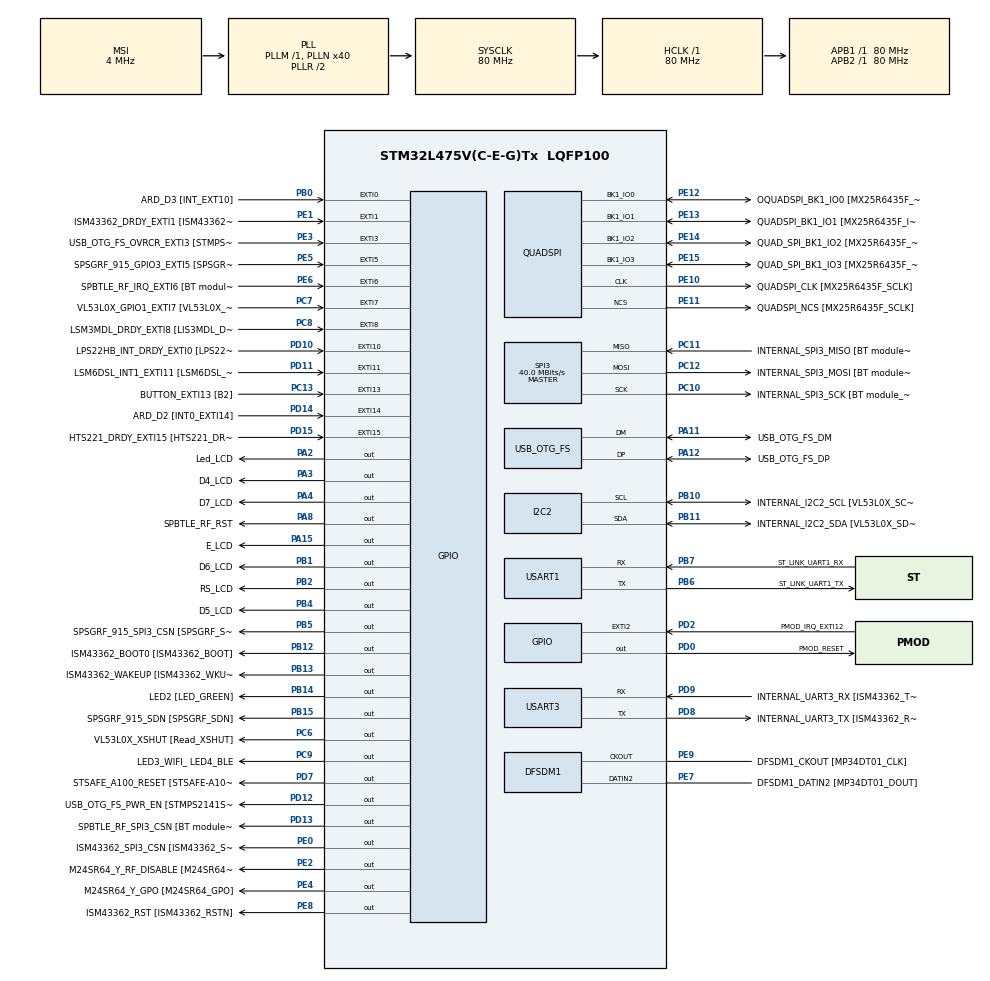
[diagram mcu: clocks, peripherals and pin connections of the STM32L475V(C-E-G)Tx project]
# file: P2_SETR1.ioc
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Mcu.Family=STM32L4
Mcu.Name=STM32L475V(C-E-G)Tx
Mcu.Package=LQFP100
NVIC.EXTI15_10_IRQn=true\:0\:0\:false\:false\:true\:true\:true\:true
NVIC.EXTI9_5_IRQn=true\:0\:0\:false\:false\:true\:true\:true\:true
NVIC.PriorityGroup=NVIC_PRIORITYGROUP_4
PA0.GPIO_Label=ARD_D1 [UART4_TX]
PA0.Signal=UART4_TX
PA1.GPIO_Label=ARD_D0 [UART4_RX]
PA1.Signal=UART4_RX
PA10.GPIO_Label=USB_OTG_FS_ID
PA10.Signal=USB_OTG_FS_ID
PA11.GPIO_Label=USB_OTG_FS_DM
PA11.Mode=Device_Only
PA11.Signal=USB_OTG_FS_DM
PA12.GPIO_Label=USB_OTG_FS_DP
PA12.Mode=Device_Only
PA12.Signal=USB_OTG_FS_DP
PA13\ (JTMS-SWDIO).GPIO_Label=SYS_JTMS_SWDIO
PA13\ (JTMS-SWDIO).Mode=Serial_Wire
PA13\ (JTMS-SWDIO).Signal=SYS_JTMS-SWDIO
PA14\ (JTCK-SWCLK).GPIO_Label=SYS_JTCK_SWCLK
PA14\ (JTCK-SWCLK).Mode=Serial_Wire
PA14\ (JTCK-SWCLK).Signal=SYS_JTCK-SWCLK
PA15\ (JTDI).GPIO_Label=E_LCD
PA15\ (JTDI).Signal=GPIO_Output
PA2.GPIO_Label=Led_LCD
PA2.Signal=GPIO_Output
PA3.GPIO_Label=D4_LCD
PA3.Signal=GPIO_Output
PA4.GPIO_Label=D7_LCD
PA4.Signal=GPIO_Output
PA5.GPIO_Label=ARD_D13 [SPI1_SCK]
PA5.Signal=SPI1_SCK
PA6.GPIO_Label=ARD_D12 [SPI1_MISO]
PA6.Signal=SPI1_MISO
PA7.GPIO_Label=ARD_D11 [SPI1_MOSI]
PA7.Signal=SPI1_MOSI
PA8.GPIO_Label=SPBTLE_RF_RST
PA8.Signal=GPIO_Output
PA9.GPIO_Label=USB_OTG_FS_VBUS [STMPS2141STR_OUT]
PA9.Signal=USB_OTG_FS_VBUS
PB0.GPIO_Label=ARD_D3 [INT_EXT10]
PB0.Signal=GPXTI0
PB1.GPIO_Label=D6_LCD
PB1.Signal=GPIO_Output
PB10.GPIO_Label=INTERNAL_I2C2_SCL [VL53L0X_SCL]
PB10.GPIO_Pu=GPIO_PULLUP
PB10.Mode=I2C
PB10.Signal=I2C2_SCL
PB11.GPIO_Label=INTERNAL_I2C2_SDA [VL53L0X_SDA]
PB11.GPIO_Pu=GPIO_PULLUP
PB11.Mode=I2C
PB11.Signal=I2C2_SDA
PB12.GPIO_Label=ISM43362_BOOT0 [ISM43362_BOOT]
PB12.Signal=GPIO_Output
PB13.GPIO_Label=ISM43362_WAKEUP [ISM43362_WKUP]
PB13.Signal=GPIO_Output
PB14.GPIO_Label=LED2 [LED_GREEN]
PB14.Signal=GPIO_Output
PB15.GPIO_Label=SPSGRF_915_SDN [SPSGRF_SDN]
PB15.Signal=GPIO_Output
PB2.GPIO_Label=RS_LCD
PB2.Signal=GPIO_Output
PB3\ (JTDO-TRACESWO).GPIO_Label=SYS_JTD0_SWO
PB3\ (JTDO-TRACESWO).Signal=SYS_JTDO-SWO
PB4\ (NJTRST).GPIO_Label=D5_LCD
PB4\ (NJTRST).Signal=GPIO_Output
PB5.GPIO_Label=SPSGRF_915_SPI3_CSN [SPSGRF_SPI_CS]
PB5.PinState=GPIO_PIN_SET
PB5.Signal=GPIO_Output
PB6.GPIO_Label=ST_LINK_UART1_TX
PB6.Mode=Asynchronous
PB6.Signal=USART1_TX
PB7.GPIO_Label=ST_LINK_UART1_RX
PB7.Mode=Asynchronous
PB7.Signal=USART1_RX
PB8.GPIO_Label=ARD_D15 [I2C1_SCL]
PB8.Signal=I2C1_SCL
PB9.GPIO_Label=ARD_D14 [I2C1_SDA]
PB9.Signal=I2C1_SDA
PC0.GPIO_Label=ARD_A5 [ADC]
PC0.Signal=ADCx_IN1
PC1.GPIO_Label=ARD_A4 [ADC]
PC1.Signal=ADCx_IN2
PC10.GPIO_Label=INTERNAL_SPI3_SCK [BT module_SPI_SCLK] [ISM43362_SCK]
PC10.Mode=Full_Duplex_Master
PC10.Signal=SPI3_SCK
PC11.GPIO_Label=INTERNAL_SPI3_MISO [BT module_SPI_MISO] [ISM43362_MISO]
PC11.Mode=Full_Duplex_Master
PC11.Signal=SPI3_MISO
PC12.GPIO_Label=INTERNAL_SPI3_MOSI [BT module_SPI_MOSI] [ISM43362_MOSI]
PC12.Mode=Full_Duplex_Master
PC12.Signal=SPI3_MOSI
PC13.GPIO_Label=BUTTON_EXTI13 [B2]
PC13.GPIO_ModeDefaultEXTI=GPIO_MODE_IT_FALLING
PC13.Signal=GPXTI13
PC14-OSC32_IN\ (PC14).Mode=LSE-External-Oscillator
PC14-OSC32_IN\ (PC14).Signal=RCC_OSC32_IN
PC15-OSC32_OUT\ (PC15).Mode=LSE-External-Oscillator
PC15-OSC32_OUT\ (PC15).Signal=RCC_OSC32_OUT
PC2.GPIO_Label=ARD_A3 [ADC]
PC2.Signal=ADCx_IN3
PC3.GPIO_Label=ARD_A2 [ADC]
PC3.Signal=ADCx_IN4
PC4.GPIO_Label=ARD_A1 [ADC]
PC4.Signal=ADCx_IN13
PC5.GPIO_Label=ARD_A0 [ADC]
PC5.Signal=ADCx_IN14
PC6.GPIO_Label=VL53L0X_XSHUT [Read_XSHUT]
PC6.Signal=GPIO_Output
PC7.GPIO_Label=VL53L0X_GPIO1_EXTI7 [VL53L0X_GPIO1]
PC7.Signal=GPXTI7
PC8.GPIO_Label=LSM3MDL_DRDY_EXTI8 [LIS3MDL_DRDY]
PC8.Signal=GPXTI8
PC9.GPIO_Label=LED3_WIFI_ LED4_BLE
PC9.Signal=GPIO_Output
PD0.GPIO_Label=PMOD_RESET
PD0.Signal=GPIO_Output
PD1.GPIO_Label=PMOD_SPI2_SCK
PD1.Signal=SPI2_SCK
PD10.GPIO_Label=LPS22HB_INT_DRDY_EXTI0 [LPS22HB_INT_DRDY] 
PD10.Signal=GPXTI10
PD11.GPIO_Label=LSM6DSL_INT1_EXTI11 [LSM6DSL_INT1]
PD11.Signal=GPXTI11
PD12.GPIO_Label=USB_OTG_FS_PWR_EN [STMPS2141STR_EN]
PD12.Signal=GPIO_Output
PD13.GPIO_Label=SPBTLE_RF_SPI3_CSN [BT module_SPI_CS]
PD13.PinState=GPIO_PIN_SET
PD13.Signal=GPIO_Output
PD14.GPIO_Label=ARD_D2 [INT0_EXTI14]
PD14.Signal=GPXTI14
PD15.GPIO_Label=HTS221_DRDY_EXTI15 [HTS221_DRDY]
PD15.Signal=GPXTI15
PD2.GPIO_Label=PMOD_IRQ_EXTI12
PD2.Signal=GPXTI2
PD3.GPIO_Label=PMOD_UART2_CTS
PD3.Signal=USART2_CTS
PD4.GPIO_Label=PMOD_UART2_RTS
PD4.Signal=USART2_RTS
PD5.GPIO_Label=PMOD_UART2_TX
PD5.Signal=USART2_TX
PD6.GPIO_Label=PMOD_UART2_RX
PD6.Signal=USART2_RX
PD7.GPIO_Label=STSAFE_A100_RESET [STSAFE-A100_RESET]
PD7.Signal=GPIO_Output
PD8.GPIO_Label=INTERNAL_UART3_TX [ISM43362_RX]
PD8.Mode=Asynchronous
PD8.Signal=USART3_TX
PD9.GPIO_Label=INTERNAL_UART3_RX [ISM43362_TX]
PD9.Mode=Asynchronous
PD9.Signal=USART3_RX
PE0.GPIO_Label=ISM43362_SPI3_CSN [ISM43362_SSN]
PE0.PinState=GPIO_PIN_SET
PE0.Signal=GPIO_Output
PE1.GPIO_Label=ISM43362_DRDY_EXTI1 [ISM43362_DATARDY]
PE1.Signal=GPXTI1
PE10.GPIO_Label=QUADSPI_CLK [MX25R6435F_SCLK]
PE10.Mode=Single Bank
PE10.Signal=QUADSPI_CLK
PE11.GPIO_Label=QUADSPI_NCS [MX25R6435F_SCLK]
PE11.Mode=Single Bank
PE11.Signal=QUADSPI_NCS
PE12.GPIO_Label=OQUADSPI_BK1_IO0 [MX25R6435F_IO0]
PE12.Mode=Single Bank
PE12.Signal=QUADSPI_BK1_IO0
PE13.GPIO_Label=QUADSPI_BK1_IO1 [MX25R6435F_IO1]
PE13.Mode=Single Bank
PE13.Signal=QUADSPI_BK1_IO1
PE14.GPIO_Label=QUAD_SPI_BK1_IO2 [MX25R6435F_IO2]
PE14.Mode=Single Bank
PE14.Signal=QUADSPI_BK1_IO2
PE15.GPIO_Label=QUAD_SPI_BK1_IO3 [MX25R6435F_IO3]
PE15.Mode=Single Bank
PE15.Signal=QUADSPI_BK1_IO3
PE2.GPIO_Label=M24SR64_Y_RF_DISABLE [M24SR64_RFDIS]
PE2.Signal=GPIO_Output
PE3.GPIO_Label=USB_OTG_FS_OVRCR_EXTI3 [STMPS2141STR_FAULT]
PE3.Signal=GPXTI3
PE4.GPIO_Label=M24SR64_Y_GPO [M24SR64_GPO]
PE4.Signal=GPIO_Output
PE5.GPIO_Label=SPSGRF_915_GPIO3_EXTI5 [SPSGRF_GPIO_3]
PE5.Signal=GPXTI5
PE6.GPIO_Label=SPBTLE_RF_IRQ_EXTI6 [BT module_SPI_IRQ]
PE6.Signal=GPXTI6
PE7.GPIO_Label=DFSDM1_DATIN2 [MP34DT01_DOUT]
PE7.Signal=S_DATAIN2DFSDM1
PE8.GPIO_Label=ISM43362_RST [ISM43362_RSTN]
PE8.Signal=GPIO_Output
PE9.GPIO_Label=DFSDM1_CKOUT [MP34DT01_CLK]
PE9.Signal=S_CKOUTDFSDM1
ProjectManager.HeapSize=0x200
ProjectManager.StackSize=0x400
ProjectManager.TargetToolchain=STM32CubeIDE
QUADSPI.ClockPrescaler=2
QUADSPI.FifoThreshold=4
QUADSPI.FlashSize=23
QUADSPI.SampleShifting=QSPI_SAMPLE_SHIFTING_HALFCYCLE
RCC.ADCFreq_Value=48000000
RCC.AHBFreq_Value=80000000
RCC.APB1Freq_Value=80000000
RCC.APB1TimFreq_Value=80000000
RCC.APB2Freq_Value=80000000
RCC.APB2TimFreq_Value=80000000
RCC.CortexFreq_Value=80000000
RCC.HCLKFreq_Value=80000000
RCC.HSE_VALUE=8000000
RCC.HSI_VALUE=16000000
RCC.MSI_VALUE=4000000
RCC.PLLN=40
RCC.PLLSAI1N=24
RCC.SYSCLKFreq_VALUE=80000000
RCC.SYSCLKSource=RCC_SYSCLKSOURCE_PLLCLK
RCC.USBFreq_Value=48000000
RCC.VCOOutputFreq_Value=160000000
SH.ADCx_IN1.0=ADC1_IN1
SH.ADCx_IN13.0=ADC1_IN13
SH.ADCx_IN14.0=ADC1_IN14
SH.ADCx_IN2.0=ADC1_IN2
SH.ADCx_IN3.0=ADC1_IN3
SH.ADCx_IN4.0=ADC1_IN4
SH.S_CKOUTDFSDM1.0=DFSDM1_CKOUT,CKOUT
SH.S_CKOUTDFSDM1.1=DFSDM1_CKOUT,PDM_SPI_Input_from_ch12_and_Internal_Clock
SH.S_DATAIN2DFSDM1.0=DFSDM1_DATIN2,PDM_SPI_Input_from_ch12_and_Internal_Clock
SPI3.CalculateBaudRate=40.0 MBits/s
SPI3.Direction=SPI_DIRECTION_2LINES
SPI3.Mode=SPI_MODE_MASTER
SPI3.VirtualType=VM_MASTER
USART1.VirtualMode-Asynchronous=VM_ASYNC
USART3.VirtualMode-Asynchronous=VM_ASYNC
USB_OTG_FS.VirtualMode=Device_Only
board=B-L475E-IOT01A1

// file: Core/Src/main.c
/* USER CODE BEGIN Header */
/**
  ******************************************************************************
  * @file           : main.c
  * @brief          : Main program body
  ******************************************************************************
  * @attention
  *
  * Copyright (c) 2025 STMicroelectronics.
  * All rights reserved.
  *
  * This software is licensed under terms that can be found in the LICENSE file
  * in the root directory of this software component.
  * If no LICENSE file comes with this software, it is provided AS-IS.
  *
  ******************************************************************************
  */
/* USER CODE END Header */
#include "main.h"

/* USER CODE BEGIN Includes */
#include "hd44780.h"
/* USER CODE END Includes */

DFSDM_Channel_HandleTypeDef hdfsdm1_channel1;

I2C_HandleTypeDef hi2c2;

QSPI_HandleTypeDef hqspi;

SPI_HandleTypeDef hspi3;

UART_HandleTypeDef huart1;
UART_HandleTypeDef huart3;

PCD_HandleTypeDef hpcd_USB_OTG_FS;

void SystemClock_Config(void);
static void MX_GPIO_Init(void);
static void MX_DFSDM1_Init(void);
static void MX_I2C2_Init(void);
static void MX_QUADSPI_Init(void);
static void MX_SPI3_Init(void);
static void MX_USART1_UART_Init(void);
static void MX_USART3_UART_Init(void);
static void MX_USB_OTG_FS_PCD_Init(void);

int main(void)
{

  /* MCU Configuration--------------------------------------------------------*/

  /* Reset of all peripherals, Initializes the Flash interface and the Systick. */
  HAL_Init();

  /* Configure the system clock */
  SystemClock_Config();

  /* Initialize all configured peripherals */
  MX_GPIO_Init();
  MX_DFSDM1_Init();
  MX_I2C2_Init();
  MX_QUADSPI_Init();
  MX_SPI3_Init();
  MX_USART1_UART_Init();
  MX_USART3_UART_Init();
  MX_USB_OTG_FS_PCD_Init();
  /* USER CODE BEGIN 2 */
  LL_GPIO_SetOutputPin(Led_LCD_GPIO_Port, Led_LCD_Pin);

  lcd_reset();
  lcd_display_settings(1,0,0);
  lcd_clear();

  lcd_cgram_address(0); // se selecciona la dirección 0 de la CGRAM, patrón con código 0
  lcd_write(0x15, 1); //se va cargando con los bytes del patrón de cada fila de la CGRAM
  lcd_write(0x15, 1);
  lcd_write(0xe, 1);
  lcd_write(0x4, 1);
  lcd_write(0x4, 1);
  lcd_write(0xa, 1);
  lcd_write(0x11, 1);
  lcd_write(0x00, 1);
  lcd_cgram_address(8); //se selecciona la dirección 8 de la CGRAM, patrón con código 1
  lcd_write(0x4, 1); // se va cargando con los bytes del patrón de cada fila de la CGRAM
  lcd_write(0x4, 1);
  lcd_write(0xe, 1);
  lcd_write(0x15, 1);
  lcd_write(0x15, 1);
  lcd_write(0xa, 1);
  lcd_write(0xa, 1);
  lcd_write(0x00, 1);
  lcd_display_address(0); //Vuelve a direccionar la DDRAM para visualizar datos en pantalla
  /* USER CODE END 2 */

  /* Infinite loop */
  /* USER CODE BEGIN WHILE */
  int counter = 0, state = 0;
  while (1)
  {
    /* USER CODE END WHILE */

    /* USER CODE BEGIN 3 */

	// TAREA A
    counter++;
	if (counter == 10 && state == 0)
	{
		moveToXY(1,7); //sitúa el cursor en la posición fila 1 columna 7, primer muñeco
		lcd_write(0,1); //escribe el nuevo patrón 0 en la DDRAM
		moveToXY(1,8); //sitúa el cursor en la posición fila 1 columna 8, segundo muñeco
		lcd_write(0,1);

		counter = 0;
		state = 1;
	}

	if (counter == 10 && state == 1)
	{
		moveToXY(1,7);
		lcd_write(1,1); //escribe el nuevo patrón 0 en la DDRAM
		moveToXY(1,8);
		lcd_write(1,1);

		counter = 0;
		state = 0;
	}

	// TAREA B
	if (LL_GPIO_IsInputPinSet(BUTTON_EXTI13_GPIO_Port, BUTTON_EXTI13_Pin))
		LL_GPIO_SetOutputPin(LED2_GPIO_Port, LED2_Pin);
	else
		LL_GPIO_ResetOutputPin(LED2_GPIO_Port, LED2_Pin);

	HAL_Delay(100);
  }
  /* USER CODE END 3 */
}

void SystemClock_Config(void)
{
  RCC_OscInitTypeDef RCC_OscInitStruct = {0};
  RCC_ClkInitTypeDef RCC_ClkInitStruct = {0};

  /** Configure the main internal regulator output voltage
  */
  if (HAL_PWREx_ControlVoltageScaling(PWR_REGULATOR_VOLTAGE_SCALE1) != HAL_OK)
  {
    Error_Handler();
  }

  /** Configure LSE Drive Capability
  */
  HAL_PWR_EnableBkUpAccess();
  __HAL_RCC_LSEDRIVE_CONFIG(RCC_LSEDRIVE_LOW);

  /** Initializes the RCC Oscillators according to the specified parameters
  * in the RCC_OscInitTypeDef structure.
  */
  RCC_OscInitStruct.OscillatorType = RCC_OSCILLATORTYPE_LSE|RCC_OSCILLATORTYPE_MSI;
  RCC_OscInitStruct.LSEState = RCC_LSE_ON;
  RCC_OscInitStruct.MSIState = RCC_MSI_ON;
  RCC_OscInitStruct.MSICalibrationValue = 0;
  RCC_OscInitStruct.MSIClockRange = RCC_MSIRANGE_6;
  RCC_OscInitStruct.PLL.PLLState = RCC_PLL_ON;
  RCC_OscInitStruct.PLL.PLLSource = RCC_PLLSOURCE_MSI;
  RCC_OscInitStruct.PLL.PLLM = 1;
  RCC_OscInitStruct.PLL.PLLN = 40;
  RCC_OscInitStruct.PLL.PLLP = RCC_PLLP_DIV7;
  RCC_OscInitStruct.PLL.PLLQ = RCC_PLLQ_DIV2;
  RCC_OscInitStruct.PLL.PLLR = RCC_PLLR_DIV2;
  if (HAL_RCC_OscConfig(&RCC_OscInitStruct) != HAL_OK)
  {
    Error_Handler();
  }

  /** Initializes the CPU, AHB and APB buses clocks
  */
  RCC_ClkInitStruct.ClockType = RCC_CLOCKTYPE_HCLK|RCC_CLOCKTYPE_SYSCLK
                              |RCC_CLOCKTYPE_PCLK1|RCC_CLOCKTYPE_PCLK2;
  RCC_ClkInitStruct.SYSCLKSource = RCC_SYSCLKSOURCE_PLLCLK;
  RCC_ClkInitStruct.AHBCLKDivider = RCC_SYSCLK_DIV1;
  RCC_ClkInitStruct.APB1CLKDivider = RCC_HCLK_DIV1;
  RCC_ClkInitStruct.APB2CLKDivider = RCC_HCLK_DIV1;

  if (HAL_RCC_ClockConfig(&RCC_ClkInitStruct, FLASH_LATENCY_4) != HAL_OK)
  {
    Error_Handler();
  }

  /** Enable MSI Auto calibration
  */
  HAL_RCCEx_EnableMSIPLLMode();
}

static void MX_DFSDM1_Init(void)
{

  hdfsdm1_channel1.Instance = DFSDM1_Channel1;
  hdfsdm1_channel1.Init.OutputClock.Activation = ENABLE;
  hdfsdm1_channel1.Init.OutputClock.Selection = DFSDM_CHANNEL_OUTPUT_CLOCK_SYSTEM;
  hdfsdm1_channel1.Init.OutputClock.Divider = 2;
  hdfsdm1_channel1.Init.Input.Multiplexer = DFSDM_CHANNEL_EXTERNAL_INPUTS;
  hdfsdm1_channel1.Init.Input.DataPacking = DFSDM_CHANNEL_STANDARD_MODE;
  hdfsdm1_channel1.Init.Input.Pins = DFSDM_CHANNEL_FOLLOWING_CHANNEL_PINS;
  hdfsdm1_channel1.Init.SerialInterface.Type = DFSDM_CHANNEL_SPI_RISING;
  hdfsdm1_channel1.Init.SerialInterface.SpiClock = DFSDM_CHANNEL_SPI_CLOCK_INTERNAL;
  hdfsdm1_channel1.Init.Awd.FilterOrder = DFSDM_CHANNEL_FASTSINC_ORDER;
  hdfsdm1_channel1.Init.Awd.Oversampling = 1;
  hdfsdm1_channel1.Init.Offset = 0;
  hdfsdm1_channel1.Init.RightBitShift = 0x00;
  if (HAL_DFSDM_ChannelInit(&hdfsdm1_channel1) != HAL_OK)
  {
    Error_Handler();
  }

}

static void MX_I2C2_Init(void)
{

  hi2c2.Instance = I2C2;
  hi2c2.Init.Timing = 0x00000E14;
  hi2c2.Init.OwnAddress1 = 0;
  hi2c2.Init.AddressingMode = I2C_ADDRESSINGMODE_7BIT;
  hi2c2.Init.DualAddressMode = I2C_DUALADDRESS_DISABLE;
  hi2c2.Init.OwnAddress2 = 0;
  hi2c2.Init.OwnAddress2Masks = I2C_OA2_NOMASK;
  hi2c2.Init.GeneralCallMode = I2C_GENERALCALL_DISABLE;
  hi2c2.Init.NoStretchMode = I2C_NOSTRETCH_DISABLE;
  if (HAL_I2C_Init(&hi2c2) != HAL_OK)
  {
    Error_Handler();
  }

  /** Configure Analogue filter
  */
  if (HAL_I2CEx_ConfigAnalogFilter(&hi2c2, I2C_ANALOGFILTER_ENABLE) != HAL_OK)
  {
    Error_Handler();
  }

  /** Configure Digital filter
  */
  if (HAL_I2CEx_ConfigDigitalFilter(&hi2c2, 0) != HAL_OK)
  {
    Error_Handler();
  }

}

static void MX_QUADSPI_Init(void)
{

  /* QUADSPI parameter configuration*/
  hqspi.Instance = QUADSPI;
  hqspi.Init.ClockPrescaler = 2;
  hqspi.Init.FifoThreshold = 4;
  hqspi.Init.SampleShifting = QSPI_SAMPLE_SHIFTING_HALFCYCLE;
  hqspi.Init.FlashSize = 23;
  hqspi.Init.ChipSelectHighTime = QSPI_CS_HIGH_TIME_1_CYCLE;
  hqspi.Init.ClockMode = QSPI_CLOCK_MODE_0;
  if (HAL_QSPI_Init(&hqspi) != HAL_OK)
  {
    Error_Handler();
  }

}

static void MX_SPI3_Init(void)
{

  /* SPI3 parameter configuration*/
  hspi3.Instance = SPI3;
  hspi3.Init.Mode = SPI_MODE_MASTER;
  hspi3.Init.Direction = SPI_DIRECTION_2LINES;
  hspi3.Init.DataSize = SPI_DATASIZE_4BIT;
  hspi3.Init.CLKPolarity = SPI_POLARITY_LOW;
  hspi3.Init.CLKPhase = SPI_PHASE_1EDGE;
  hspi3.Init.NSS = SPI_NSS_SOFT;
  hspi3.Init.BaudRatePrescaler = SPI_BAUDRATEPRESCALER_2;
  hspi3.Init.FirstBit = SPI_FIRSTBIT_MSB;
  hspi3.Init.TIMode = SPI_TIMODE_DISABLE;
  hspi3.Init.CRCCalculation = SPI_CRCCALCULATION_DISABLE;
  hspi3.Init.CRCPolynomial = 7;
  hspi3.Init.CRCLength = SPI_CRC_LENGTH_DATASIZE;
  hspi3.Init.NSSPMode = SPI_NSS_PULSE_ENABLE;
  if (HAL_SPI_Init(&hspi3) != HAL_OK)
  {
    Error_Handler();
  }

}

static void MX_USART1_UART_Init(void)
{

  huart1.Instance = USART1;
  huart1.Init.BaudRate = 115200;
  huart1.Init.WordLength = UART_WORDLENGTH_8B;
  huart1.Init.StopBits = UART_STOPBITS_1;
  huart1.Init.Parity = UART_PARITY_NONE;
  huart1.Init.Mode = UART_MODE_TX_RX;
  huart1.Init.HwFlowCtl = UART_HWCONTROL_NONE;
  huart1.Init.OverSampling = UART_OVERSAMPLING_16;
  huart1.Init.OneBitSampling = UART_ONE_BIT_SAMPLE_DISABLE;
  huart1.AdvancedInit.AdvFeatureInit = UART_ADVFEATURE_NO_INIT;
  if (HAL_UART_Init(&huart1) != HAL_OK)
  {
    Error_Handler();
  }

}

static void MX_USART3_UART_Init(void)
{

  huart3.Instance = USART3;
  huart3.Init.BaudRate = 115200;
  huart3.Init.WordLength = UART_WORDLENGTH_8B;
  huart3.Init.StopBits = UART_STOPBITS_1;
  huart3.Init.Parity = UART_PARITY_NONE;
  huart3.Init.Mode = UART_MODE_TX_RX;
  huart3.Init.HwFlowCtl = UART_HWCONTROL_NONE;
  huart3.Init.OverSampling = UART_OVERSAMPLING_16;
  huart3.Init.OneBitSampling = UART_ONE_BIT_SAMPLE_DISABLE;
  huart3.AdvancedInit.AdvFeatureInit = UART_ADVFEATURE_NO_INIT;
  if (HAL_UART_Init(&huart3) != HAL_OK)
  {
    Error_Handler();
  }

}

static void MX_USB_OTG_FS_PCD_Init(void)
{

  hpcd_USB_OTG_FS.Instance = USB_OTG_FS;
  hpcd_USB_OTG_FS.Init.dev_endpoints = 6;
  hpcd_USB_OTG_FS.Init.speed = PCD_SPEED_FULL;
  hpcd_USB_OTG_FS.Init.phy_itface = PCD_PHY_EMBEDDED;
  hpcd_USB_OTG_FS.Init.Sof_enable = DISABLE;
  hpcd_USB_OTG_FS.Init.low_power_enable = DISABLE;
  hpcd_USB_OTG_FS.Init.lpm_enable = DISABLE;
  hpcd_USB_OTG_FS.Init.battery_charging_enable = DISABLE;
  hpcd_USB_OTG_FS.Init.use_dedicated_ep1 = DISABLE;
  hpcd_USB_OTG_FS.Init.vbus_sensing_enable = DISABLE;
  if (HAL_PCD_Init(&hpcd_USB_OTG_FS) != HAL_OK)
  {
    Error_Handler();
  }

}

static void MX_GPIO_Init(void)
{
  LL_EXTI_InitTypeDef EXTI_InitStruct = {0};
  LL_GPIO_InitTypeDef GPIO_InitStruct = {0};

  /* GPIO Ports Clock Enable */
  LL_AHB2_GRP1_EnableClock(LL_AHB2_GRP1_PERIPH_GPIOE);
  LL_AHB2_GRP1_EnableClock(LL_AHB2_GRP1_PERIPH_GPIOC);
  LL_AHB2_GRP1_EnableClock(LL_AHB2_GRP1_PERIPH_GPIOA);
  LL_AHB2_GRP1_EnableClock(LL_AHB2_GRP1_PERIPH_GPIOB);
  LL_AHB2_GRP1_EnableClock(LL_AHB2_GRP1_PERIPH_GPIOD);

  /**/
  LL_GPIO_ResetOutputPin(GPIOE, M24SR64_Y_RF_DISABLE_Pin|M24SR64_Y_GPO_Pin|ISM43362_RST_Pin);

  /**/
  LL_GPIO_ResetOutputPin(GPIOA, Led_LCD_Pin|D4_LCD_Pin|D7_LCD_Pin|SPBTLE_RF_RST_Pin
                          |E_LCD_Pin);

  /**/
  LL_GPIO_ResetOutputPin(GPIOB, D6_LCD_Pin|RS_LCD_Pin|ISM43362_BOOT0_Pin|ISM43362_WAKEUP_Pin
                          |LED2_Pin|SPSGRF_915_SDN_Pin|D5_LCD_Pin);

  /**/
  LL_GPIO_ResetOutputPin(GPIOD, USB_OTG_FS_PWR_EN_Pin|PMOD_RESET_Pin|STSAFE_A100_RESET_Pin);

  /**/
  LL_GPIO_ResetOutputPin(GPIOC, VL53L0X_XSHUT_Pin|LED3_WIFI__LED4_BLE_Pin);

  /**/
  LL_GPIO_SetOutputPin(SPBTLE_RF_SPI3_CSN_GPIO_Port, SPBTLE_RF_SPI3_CSN_Pin);

  /**/
  LL_GPIO_SetOutputPin(SPSGRF_915_SPI3_CSN_GPIO_Port, SPSGRF_915_SPI3_CSN_Pin);

  /**/
  LL_GPIO_SetOutputPin(ISM43362_SPI3_CSN_GPIO_Port, ISM43362_SPI3_CSN_Pin);

  /**/
  GPIO_InitStruct.Pin = M24SR64_Y_RF_DISABLE_Pin|M24SR64_Y_GPO_Pin|ISM43362_RST_Pin|ISM43362_SPI3_CSN_Pin;
  GPIO_InitStruct.Mode = LL_GPIO_MODE_OUTPUT;
  GPIO_InitStruct.Speed = LL_GPIO_SPEED_FREQ_LOW;
  GPIO_InitStruct.OutputType = LL_GPIO_OUTPUT_PUSHPULL;
  GPIO_InitStruct.Pull = LL_GPIO_PULL_NO;
  LL_GPIO_Init(GPIOE, &GPIO_InitStruct);

  /**/
  GPIO_InitStruct.Pin = ARD_A5_Pin|ARD_A4_Pin|ARD_A3_Pin|ARD_A2_Pin
                          |ARD_A1_Pin|ARD_A0_Pin;
  GPIO_InitStruct.Mode = LL_GPIO_MODE_ANALOG;
  GPIO_InitStruct.Pull = LL_GPIO_PULL_NO;
  LL_GPIO_Init(GPIOC, &GPIO_InitStruct);

  /**/
  GPIO_InitStruct.Pin = ARD_D1_Pin|ARD_D0_Pin;
  GPIO_InitStruct.Mode = LL_GPIO_MODE_ALTERNATE;
  GPIO_InitStruct.Speed = LL_GPIO_SPEED_FREQ_VERY_HIGH;
  GPIO_InitStruct.OutputType = LL_GPIO_OUTPUT_PUSHPULL;
  GPIO_InitStruct.Pull = LL_GPIO_PULL_NO;
  GPIO_InitStruct.Alternate = LL_GPIO_AF_8;
  LL_GPIO_Init(GPIOA, &GPIO_InitStruct);

  /**/
  GPIO_InitStruct.Pin = Led_LCD_Pin|D4_LCD_Pin|D7_LCD_Pin|SPBTLE_RF_RST_Pin
                          |E_LCD_Pin;
  GPIO_InitStruct.Mode = LL_GPIO_MODE_OUTPUT;
  GPIO_InitStruct.Speed = LL_GPIO_SPEED_FREQ_LOW;
  GPIO_InitStruct.OutputType = LL_GPIO_OUTPUT_PUSHPULL;
  GPIO_InitStruct.Pull = LL_GPIO_PULL_NO;
  LL_GPIO_Init(GPIOA, &GPIO_InitStruct);

  /**/
  GPIO_InitStruct.Pin = ARD_D13_Pin|ARD_D12_Pin|ARD_D11_Pin;
  GPIO_InitStruct.Mode = LL_GPIO_MODE_ALTERNATE;
  GPIO_InitStruct.Speed = LL_GPIO_SPEED_FREQ_VERY_HIGH;
  GPIO_InitStruct.OutputType = LL_GPIO_OUTPUT_PUSHPULL;
  GPIO_InitStruct.Pull = LL_GPIO_PULL_NO;
  GPIO_InitStruct.Alternate = LL_GPIO_AF_5;
  LL_GPIO_Init(GPIOA, &GPIO_InitStruct);

  /**/
  GPIO_InitStruct.Pin = D6_LCD_Pin|RS_LCD_Pin|ISM43362_BOOT0_Pin|ISM43362_WAKEUP_Pin
                          |LED2_Pin|SPSGRF_915_SDN_Pin|D5_LCD_Pin|SPSGRF_915_SPI3_CSN_Pin;
  GPIO_InitStruct.Mode = LL_GPIO_MODE_OUTPUT;
  GPIO_InitStruct.Speed = LL_GPIO_SPEED_FREQ_LOW;
  GPIO_InitStruct.OutputType = LL_GPIO_OUTPUT_PUSHPULL;
  GPIO_InitStruct.Pull = LL_GPIO_PULL_NO;
  LL_GPIO_Init(GPIOB, &GPIO_InitStruct);

  /**/
  GPIO_InitStruct.Pin = USB_OTG_FS_PWR_EN_Pin|SPBTLE_RF_SPI3_CSN_Pin|PMOD_RESET_Pin|STSAFE_A100_RESET_Pin;
  GPIO_InitStruct.Mode = LL_GPIO_MODE_OUTPUT;
  GPIO_InitStruct.Speed = LL_GPIO_SPEED_FREQ_LOW;
  GPIO_InitStruct.OutputType = LL_GPIO_OUTPUT_PUSHPULL;
  GPIO_InitStruct.Pull = LL_GPIO_PULL_NO;
  LL_GPIO_Init(GPIOD, &GPIO_InitStruct);

  /**/
  GPIO_InitStruct.Pin = VL53L0X_XSHUT_Pin|LED3_WIFI__LED4_BLE_Pin;
  GPIO_InitStruct.Mode = LL_GPIO_MODE_OUTPUT;
  GPIO_InitStruct.Speed = LL_GPIO_SPEED_FREQ_LOW;
  GPIO_InitStruct.OutputType = LL_GPIO_OUTPUT_PUSHPULL;
  GPIO_InitStruct.Pull = LL_GPIO_PULL_NO;
  LL_GPIO_Init(GPIOC, &GPIO_InitStruct);

  /**/
  GPIO_InitStruct.Pin = PMOD_SPI2_SCK_Pin;
  GPIO_InitStruct.Mode = LL_GPIO_MODE_ALTERNATE;
  GPIO_InitStruct.Speed = LL_GPIO_SPEED_FREQ_VERY_HIGH;
  GPIO_InitStruct.OutputType = LL_GPIO_OUTPUT_PUSHPULL;
  GPIO_InitStruct.Pull = LL_GPIO_PULL_NO;
  GPIO_InitStruct.Alternate = LL_GPIO_AF_5;
  LL_GPIO_Init(PMOD_SPI2_SCK_GPIO_Port, &GPIO_InitStruct);

  /**/
  GPIO_InitStruct.Pin = PMOD_UART2_CTS_Pin|PMOD_UART2_RTS_Pin|PMOD_UART2_TX_Pin|PMOD_UART2_RX_Pin;
  GPIO_InitStruct.Mode = LL_GPIO_MODE_ALTERNATE;
  GPIO_InitStruct.Speed = LL_GPIO_SPEED_FREQ_VERY_HIGH;
  GPIO_InitStruct.OutputType = LL_GPIO_OUTPUT_PUSHPULL;
  GPIO_InitStruct.Pull = LL_GPIO_PULL_NO;
  GPIO_InitStruct.Alternate = LL_GPIO_AF_7;
  LL_GPIO_Init(GPIOD, &GPIO_InitStruct);

  /**/
  GPIO_InitStruct.Pin = ARD_D15_Pin|ARD_D14_Pin;
  GPIO_InitStruct.Mode = LL_GPIO_MODE_ALTERNATE;
  GPIO_InitStruct.Speed = LL_GPIO_SPEED_FREQ_VERY_HIGH;
  GPIO_InitStruct.OutputType = LL_GPIO_OUTPUT_OPENDRAIN;
  GPIO_InitStruct.Pull = LL_GPIO_PULL_NO;
  GPIO_InitStruct.Alternate = LL_GPIO_AF_4;
  LL_GPIO_Init(GPIOB, &GPIO_InitStruct);

  /**/
  LL_SYSCFG_SetEXTISource(LL_SYSCFG_EXTI_PORTE, LL_SYSCFG_EXTI_LINE3);

  /**/
  LL_SYSCFG_SetEXTISource(LL_SYSCFG_EXTI_PORTE, LL_SYSCFG_EXTI_LINE5);

  /**/
  LL_SYSCFG_SetEXTISource(LL_SYSCFG_EXTI_PORTE, LL_SYSCFG_EXTI_LINE6);

  /**/
  LL_SYSCFG_SetEXTISource(LL_SYSCFG_EXTI_PORTC, LL_SYSCFG_EXTI_LINE13);

  /**/
  LL_SYSCFG_SetEXTISource(LL_SYSCFG_EXTI_PORTB, LL_SYSCFG_EXTI_LINE0);

  /**/
  LL_SYSCFG_SetEXTISource(LL_SYSCFG_EXTI_PORTD, LL_SYSCFG_EXTI_LINE10);

  /**/
  LL_SYSCFG_SetEXTISource(LL_SYSCFG_EXTI_PORTD, LL_SYSCFG_EXTI_LINE11);

  /**/
  LL_SYSCFG_SetEXTISource(LL_SYSCFG_EXTI_PORTD, LL_SYSCFG_EXTI_LINE14);

  /**/
  LL_SYSCFG_SetEXTISource(LL_SYSCFG_EXTI_PORTD, LL_SYSCFG_EXTI_LINE15);

  /**/
  LL_SYSCFG_SetEXTISource(LL_SYSCFG_EXTI_PORTC, LL_SYSCFG_EXTI_LINE7);

  /**/
  LL_SYSCFG_SetEXTISource(LL_SYSCFG_EXTI_PORTC, LL_SYSCFG_EXTI_LINE8);

  /**/
  LL_SYSCFG_SetEXTISource(LL_SYSCFG_EXTI_PORTD, LL_SYSCFG_EXTI_LINE2);

  /**/
  LL_SYSCFG_SetEXTISource(LL_SYSCFG_EXTI_PORTE, LL_SYSCFG_EXTI_LINE1);

  /**/
  EXTI_InitStruct.Line_0_31 = LL_EXTI_LINE_3;
  EXTI_InitStruct.Line_32_63 = LL_EXTI_LINE_NONE;
  EXTI_InitStruct.LineCommand = ENABLE;
  EXTI_InitStruct.Mode = LL_EXTI_MODE_IT;
  EXTI_InitStruct.Trigger = LL_EXTI_TRIGGER_RISING;
  LL_EXTI_Init(&EXTI_InitStruct);

  /**/
  EXTI_InitStruct.Line_0_31 = LL_EXTI_LINE_5;
  EXTI_InitStruct.Line_32_63 = LL_EXTI_LINE_NONE;
  EXTI_InitStruct.LineCommand = ENABLE;
  EXTI_InitStruct.Mode = LL_EXTI_MODE_IT;
  EXTI_InitStruct.Trigger = LL_EXTI_TRIGGER_RISING;
  LL_EXTI_Init(&EXTI_InitStruct);

  /**/
  EXTI_InitStruct.Line_0_31 = LL_EXTI_LINE_6;
  EXTI_InitStruct.Line_32_63 = LL_EXTI_LINE_NONE;
  EXTI_InitStruct.LineCommand = ENABLE;
  EXTI_InitStruct.Mode = LL_EXTI_MODE_IT;
  EXTI_InitStruct.Trigger = LL_EXTI_TRIGGER_RISING;
  LL_EXTI_Init(&EXTI_InitStruct);

  /**/
  EXTI_InitStruct.Line_0_31 = LL_EXTI_LINE_13;
  EXTI_InitStruct.Line_32_63 = LL_EXTI_LINE_NONE;
  EXTI_InitStruct.LineCommand = ENABLE;
  EXTI_InitStruct.Mode = LL_EXTI_MODE_IT;
  EXTI_InitStruct.Trigger = LL_EXTI_TRIGGER_FALLING;
  LL_EXTI_Init(&EXTI_InitStruct);

  /**/
  EXTI_InitStruct.Line_0_31 = LL_EXTI_LINE_0;
  EXTI_InitStruct.Line_32_63 = LL_EXTI_LINE_NONE;
  EXTI_InitStruct.LineCommand = ENABLE;
  EXTI_InitStruct.Mode = LL_EXTI_MODE_IT;
  EXTI_InitStruct.Trigger = LL_EXTI_TRIGGER_RISING;
  LL_EXTI_Init(&EXTI_InitStruct);

  /**/
  EXTI_InitStruct.Line_0_31 = LL_EXTI_LINE_10;
  EXTI_InitStruct.Line_32_63 = LL_EXTI_LINE_NONE;
  EXTI_InitStruct.LineCommand = ENABLE;
  EXTI_InitStruct.Mode = LL_EXTI_MODE_IT;
  EXTI_InitStruct.Trigger = LL_EXTI_TRIGGER_RISING;
  LL_EXTI_Init(&EXTI_InitStruct);

  /**/
  EXTI_InitStruct.Line_0_31 = LL_EXTI_LINE_11;
  EXTI_InitStruct.Line_32_63 = LL_EXTI_LINE_NONE;
  EXTI_InitStruct.LineCommand = ENABLE;
  EXTI_InitStruct.Mode = LL_EXTI_MODE_IT;
  EXTI_InitStruct.Trigger = LL_EXTI_TRIGGER_RISING;
  LL_EXTI_Init(&EXTI_InitStruct);

  /**/
  EXTI_InitStruct.Line_0_31 = LL_EXTI_LINE_14;
  EXTI_InitStruct.Line_32_63 = LL_EXTI_LINE_NONE;
  EXTI_InitStruct.LineCommand = ENABLE;
  EXTI_InitStruct.Mode = LL_EXTI_MODE_IT;
  EXTI_InitStruct.Trigger = LL_EXTI_TRIGGER_RISING;
  LL_EXTI_Init(&EXTI_InitStruct);

  /**/
  EXTI_InitStruct.Line_0_31 = LL_EXTI_LINE_15;
  EXTI_InitStruct.Line_32_63 = LL_EXTI_LINE_NONE;
  EXTI_InitStruct.LineCommand = ENABLE;
  EXTI_InitStruct.Mode = LL_EXTI_MODE_IT;
  EXTI_InitStruct.Trigger = LL_EXTI_TRIGGER_RISING;
  LL_EXTI_Init(&EXTI_InitStruct);

  /**/
  EXTI_InitStruct.Line_0_31 = LL_EXTI_LINE_7;
  EXTI_InitStruct.Line_32_63 = LL_EXTI_LINE_NONE;
  EXTI_InitStruct.LineCommand = ENABLE;
  EXTI_InitStruct.Mode = LL_EXTI_MODE_IT;
  EXTI_InitStruct.Trigger = LL_EXTI_TRIGGER_RISING;
  LL_EXTI_Init(&EXTI_InitStruct);

  /**/
  EXTI_InitStruct.Line_0_31 = LL_EXTI_LINE_8;
  EXTI_InitStruct.Line_32_63 = LL_EXTI_LINE_NONE;
  EXTI_InitStruct.LineCommand = ENABLE;
  EXTI_InitStruct.Mode = LL_EXTI_MODE_IT;
  EXTI_InitStruct.Trigger = LL_EXTI_TRIGGER_RISING;
  LL_EXTI_Init(&EXTI_InitStruct);

  /**/
  EXTI_InitStruct.Line_0_31 = LL_EXTI_LINE_2;
  EXTI_InitStruct.Line_32_63 = LL_EXTI_LINE_NONE;
  EXTI_InitStruct.LineCommand = ENABLE;
  EXTI_InitStruct.Mode = LL_EXTI_MODE_IT;
  EXTI_InitStruct.Trigger = LL_EXTI_TRIGGER_RISING;
  LL_EXTI_Init(&EXTI_InitStruct);

  /**/
  EXTI_InitStruct.Line_0_31 = LL_EXTI_LINE_1;
  EXTI_InitStruct.Line_32_63 = LL_EXTI_LINE_NONE;
  EXTI_InitStruct.LineCommand = ENABLE;
  EXTI_InitStruct.Mode = LL_EXTI_MODE_IT;
  EXTI_InitStruct.Trigger = LL_EXTI_TRIGGER_RISING;
  LL_EXTI_Init(&EXTI_InitStruct);

  /**/
  LL_GPIO_SetPinPull(USB_OTG_FS_OVRCR_EXTI3_GPIO_Port, USB_OTG_FS_OVRCR_EXTI3_Pin, LL_GPIO_PULL_NO);

  /**/
  LL_GPIO_SetPinPull(SPSGRF_915_GPIO3_EXTI5_GPIO_Port, SPSGRF_915_GPIO3_EXTI5_Pin, LL_GPIO_PULL_NO);

  /**/
  LL_GPIO_SetPinPull(SPBTLE_RF_IRQ_EXTI6_GPIO_Port, SPBTLE_RF_IRQ_EXTI6_Pin, LL_GPIO_PULL_NO);

  /**/
  LL_GPIO_SetPinPull(BUTTON_EXTI13_GPIO_Port, BUTTON_EXTI13_Pin, LL_GPIO_PULL_NO);

  /**/
  LL_GPIO_SetPinPull(ARD_D3_GPIO_Port, ARD_D3_Pin, LL_GPIO_PULL_NO);

  /**/
  LL_GPIO_SetPinPull(LPS22HB_INT_DRDY_EXTI0_GPIO_Port, LPS22HB_INT_DRDY_EXTI0_Pin, LL_GPIO_PULL_NO);

  /**/
  LL_GPIO_SetPinPull(LSM6DSL_INT1_EXTI11_GPIO_Port, LSM6DSL_INT1_EXTI11_Pin, LL_GPIO_PULL_NO);

  /**/
  LL_GPIO_SetPinPull(ARD_D2_GPIO_Port, ARD_D2_Pin, LL_GPIO_PULL_NO);

  /**/
  LL_GPIO_SetPinPull(HTS221_DRDY_EXTI15_GPIO_Port, HTS221_DRDY_EXTI15_Pin, LL_GPIO_PULL_NO);

  /**/
  LL_GPIO_SetPinPull(VL53L0X_GPIO1_EXTI7_GPIO_Port, VL53L0X_GPIO1_EXTI7_Pin, LL_GPIO_PULL_NO);

  /**/
  LL_GPIO_SetPinPull(LSM3MDL_DRDY_EXTI8_GPIO_Port, LSM3MDL_DRDY_EXTI8_Pin, LL_GPIO_PULL_NO);

  /**/
  LL_GPIO_SetPinPull(PMOD_IRQ_EXTI12_GPIO_Port, PMOD_IRQ_EXTI12_Pin, LL_GPIO_PULL_NO);

  /**/
  LL_GPIO_SetPinPull(ISM43362_DRDY_EXTI1_GPIO_Port, ISM43362_DRDY_EXTI1_Pin, LL_GPIO_PULL_NO);

  /**/
  LL_GPIO_SetPinMode(USB_OTG_FS_OVRCR_EXTI3_GPIO_Port, USB_OTG_FS_OVRCR_EXTI3_Pin, LL_GPIO_MODE_INPUT);

  /**/
  LL_GPIO_SetPinMode(SPSGRF_915_GPIO3_EXTI5_GPIO_Port, SPSGRF_915_GPIO3_EXTI5_Pin, LL_GPIO_MODE_INPUT);

  /**/
  LL_GPIO_SetPinMode(SPBTLE_RF_IRQ_EXTI6_GPIO_Port, SPBTLE_RF_IRQ_EXTI6_Pin, LL_GPIO_MODE_INPUT);

  /**/
  LL_GPIO_SetPinMode(BUTTON_EXTI13_GPIO_Port, BUTTON_EXTI13_Pin, LL_GPIO_MODE_INPUT);

  /**/
  LL_GPIO_SetPinMode(ARD_D3_GPIO_Port, ARD_D3_Pin, LL_GPIO_MODE_INPUT);

  /**/
  LL_GPIO_SetPinMode(LPS22HB_INT_DRDY_EXTI0_GPIO_Port, LPS22HB_INT_DRDY_EXTI0_Pin, LL_GPIO_MODE_INPUT);

  /**/
  LL_GPIO_SetPinMode(LSM6DSL_INT1_EXTI11_GPIO_Port, LSM6DSL_INT1_EXTI11_Pin, LL_GPIO_MODE_INPUT);

  /**/
  LL_GPIO_SetPinMode(ARD_D2_GPIO_Port, ARD_D2_Pin, LL_GPIO_MODE_INPUT);

  /**/
  LL_GPIO_SetPinMode(HTS221_DRDY_EXTI15_GPIO_Port, HTS221_DRDY_EXTI15_Pin, LL_GPIO_MODE_INPUT);

  /**/
  LL_GPIO_SetPinMode(VL53L0X_GPIO1_EXTI7_GPIO_Port, VL53L0X_GPIO1_EXTI7_Pin, LL_GPIO_MODE_INPUT);

  /**/
  LL_GPIO_SetPinMode(LSM3MDL_DRDY_EXTI8_GPIO_Port, LSM3MDL_DRDY_EXTI8_Pin, LL_GPIO_MODE_INPUT);

  /**/
  LL_GPIO_SetPinMode(PMOD_IRQ_EXTI12_GPIO_Port, PMOD_IRQ_EXTI12_Pin, LL_GPIO_MODE_INPUT);

  /**/
  LL_GPIO_SetPinMode(ISM43362_DRDY_EXTI1_GPIO_Port, ISM43362_DRDY_EXTI1_Pin, LL_GPIO_MODE_INPUT);

  /**/
  LL_GPIO_EnablePinAnalogControl(GPIOC, ARD_A5_Pin|ARD_A4_Pin|ARD_A3_Pin|ARD_A2_Pin
                          |ARD_A1_Pin|ARD_A0_Pin);

  /* EXTI interrupt init*/
  NVIC_SetPriority(EXTI9_5_IRQn, NVIC_EncodePriority(NVIC_GetPriorityGrouping(),0, 0));
  NVIC_EnableIRQ(EXTI9_5_IRQn);
  NVIC_SetPriority(EXTI15_10_IRQn, NVIC_EncodePriority(NVIC_GetPriorityGrouping(),0, 0));
  NVIC_EnableIRQ(EXTI15_10_IRQn);

}

void Error_Handler(void)
{
  __disable_irq();
  while (1)
  {
  }
}
